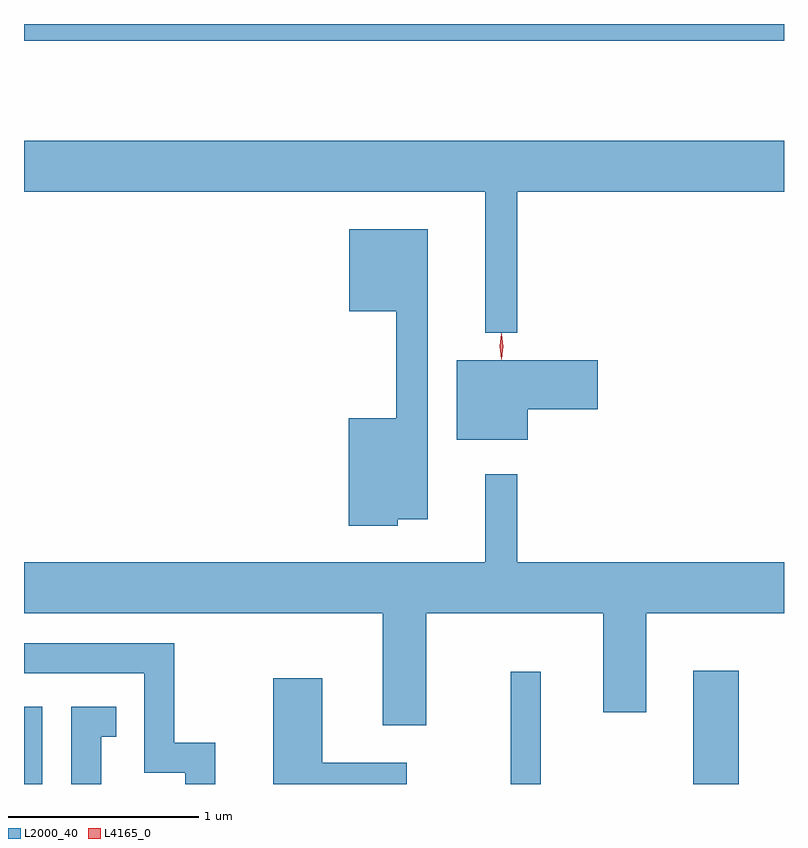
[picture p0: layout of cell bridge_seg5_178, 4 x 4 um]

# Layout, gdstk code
import gdstk
lib = gdstk.Library(unit=1e-6, precision=1e-09)
def R(c, l, rs):  # rectangles x0, y0, x1, y1
    for r in rs: c.add(gdstk.rectangle(r[:2], r[2:], *l))
def P(c, l, *ps):  # polygons
    for p in ps: c.add(gdstk.Polygon(p, *l))
L2000_40 = (2000, 40)
L4165_0 = (4165, 0)

bridge_seg5_178 = lib.new_cell('bridge_seg5_178')
R(bridge_seg5_178, L2000_40, [(1304.713,1444.798,1304.809,1445.204), (1307.276,1444.798,1307.434,1445.388), (1308.236,1444.798,1308.474,1445.394), (1304.713,1448.711,1308.713,1448.798)])
P(bridge_seg5_178, L2000_40, [(1307.309,1447.916),(1308.713,1447.916),(1308.713,1448.184),(1304.713,1448.184),(1304.713,1447.916),(1307.141,1447.916),(1307.141,1447.173),(1307.309,1447.173)],
  [(1306.679,1446.191),(1306.839,1446.191),(1306.839,1447.719),(1306.426,1447.719),(1306.426,1447.286),(1306.671,1447.286),(1306.671,1446.724),(1306.421,1446.724),(1306.421,1446.156),(1306.679,1446.156)],
  [(1307.364,1446.771),(1307.734,1446.771),(1307.734,1447.029),(1306.991,1447.029),(1306.991,1446.611),(1307.364,1446.611)],
  [(1306.829,1445.696),(1307.761,1445.696),(1307.761,1445.176),(1307.989,1445.176),(1307.989,1445.696),(1308.713,1445.696),(1308.713,1445.964),(1307.309,1445.964),(1307.309,1446.428),(1307.141,1446.428),(1307.141,1445.964),(1304.713,1445.964),(1304.713,1445.696),(1306.601,1445.696),(1306.601,1445.106),(1306.829,1445.106)],
  [(1305.719,1445.014),(1305.504,1445.014),(1305.504,1445.539),(1304.713,1445.539),(1304.713,1445.381),(1305.346,1445.381),(1305.346,1444.856),(1305.561,1444.856),(1305.561,1444.798),(1305.719,1444.798)],
  [(1306.728,1444.909),(1306.284,1444.909),(1306.284,1445.354),(1306.026,1445.354),(1306.026,1444.798),(1306.728,1444.798)],
  [(1305.119,1445.046),(1305.198,1445.046),(1305.198,1445.204),(1304.961,1445.204),(1304.961,1444.798),(1305.119,1444.798)])
P(bridge_seg5_178, L4165_0, [(1307.226,1447.034),(1307.226,1447.034),(1307.216,1447.102),(1307.225,1447.169),(1307.226,1447.17),(1307.226,1447.169),(1307.236,1447.102),(1307.227,1447.034)],
  [(1307.225,1447.04),(1307.224,1447.041),(1307.216,1447.104),(1307.226,1447.166),(1307.227,1447.167),(1307.227,1447.166),(1307.236,1447.103),(1307.225,1447.041)])

lib.write_gds('bridge_seg5_178.gds')
